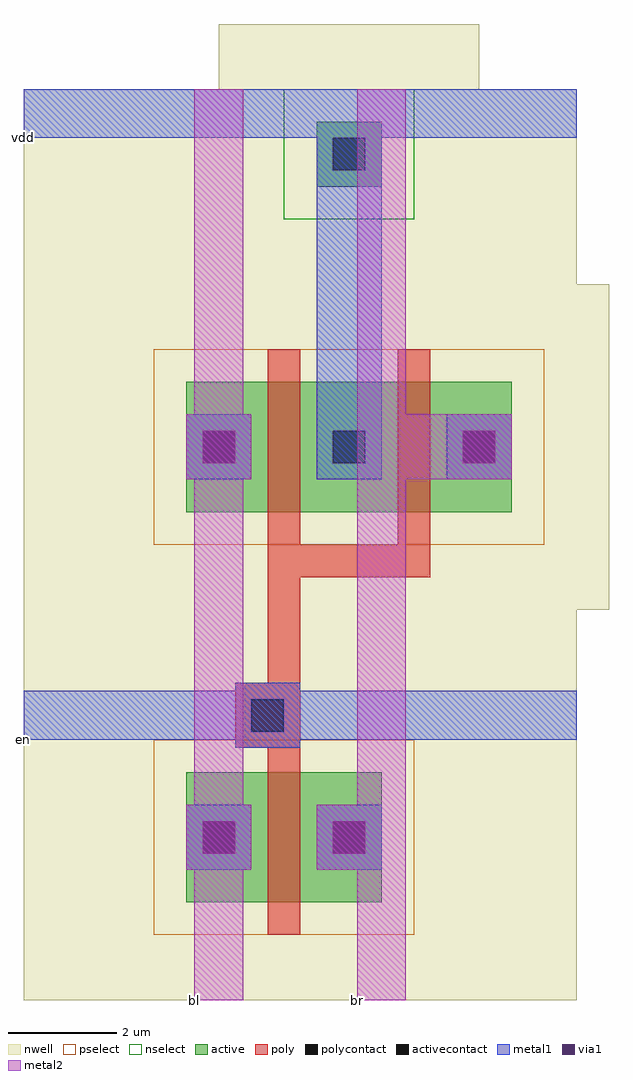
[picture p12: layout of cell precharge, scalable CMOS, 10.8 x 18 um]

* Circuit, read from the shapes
.subckt precharge bl br en vdd
M1 br en bl vdd pfet w=2.4u l=0.6u
M2 vdd en bl vdd pfet w=2.4u l=0.6u
M3 br en vdd vdd pfet w=2.4u l=0.6u
.ends

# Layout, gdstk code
from math import pi, radians
import gdstk
lib = gdstk.Library(unit=1e-6, precision=1e-09)
def R(c, l, rs):  # rectangles x0, y0, x1, y1
    for r in rs: c.add(gdstk.rectangle(r[:2], r[2:], *l))
nwell = (42, 0)
active = (43, 0)
pselect = (44, 0)
nselect = (45, 0)
poly = (46, 0)
polycontact = (47, 0)
activecontact = (48, 0)
metal1 = (49, 0)
via1 = (50, 0)
metal2 = (51, 0)

active_contact_metal1_1x = lib.new_cell('active_contact_metal1_1x1_pn')
R(active_contact_metal1_1x, nwell, [(-1.8,-1.8,3,3), (-1.8,-1.8,3,3)])
R(active_contact_metal1_1x, active, [(0,0,1.2,1.2), (0,0,1.2,1.2)])
R(active_contact_metal1_1x, pselect, [(-0.6,-0.6,1.8,1.8), (-0.6,-0.6,1.8,1.8)])
R(active_contact_metal1_1x, activecontact, [(0.3,0.3,0.9,0.9), (0.3,0.3,0.9,0.9)])
R(active_contact_metal1_1x, metal1, [(0,0,1.2,1.2), (0,0,1.2,1.2)])

pmos_m1_w2_4 = lib.new_cell('pmos_m1_w2_4')
R(pmos_m1_w2_4, nwell, [(-1.8,-1.8,5.4,4.2), (-1.8,-1.8,5.4,4.2)])
R(pmos_m1_w2_4, active, [(0,0,3.6,2.4), (0,0,3.6,2.4)])
R(pmos_m1_w2_4, pselect, [(-0.6,-0.6,4.2,3), (-0.6,-0.6,4.2,3)])
R(pmos_m1_w2_4, poly, [(1.5,-0.6,2.1,3), (1.5,-0.6,2.1,3), (1.5,-0.6,2.1,3), (1.5,-0.6,2.1,3)])
R(pmos_m1_w2_4, metal1, [(0,0.6,1.2,1.8), (0,0.6,1.2,1.8), (2.4,0.6,3.6,1.8), (2.4,0.6,3.6,1.8)])
pmos_m1_w2_4.add(gdstk.Reference(active_contact_metal1_1x, (0,0.6)))
pmos_m1_w2_4.add(gdstk.Reference(active_contact_metal1_1x, (2.4,0.6)))
pmos_m1_w2_4.add(gdstk.Reference(active_contact_metal1_1x, (0,0.6)))
pmos_m1_w2_4.add(gdstk.Reference(active_contact_metal1_1x, (2.4,0.6)))
pmos_m1_w2_4.add(gdstk.Label('S', (0,0.6), layer=49, texttype=0))
pmos_m1_w2_4.add(gdstk.Label('D', (2.4,0.6), layer=49, texttype=0))
pmos_m1_w2_4.add(gdstk.Label('G', (1.5,-0.6), layer=46, texttype=0))
pmos_m1_w2_4.add(gdstk.Label('S', (0,0.6), layer=49, texttype=0))
pmos_m1_w2_4.add(gdstk.Label('D', (2.4,0.6), layer=49, texttype=0))
pmos_m1_w2_4.add(gdstk.Label('G', (1.5,-0.6), layer=46, texttype=0))

poly_contact_metal1_1x1 = lib.new_cell('poly_contact_metal1_1x1')
R(poly_contact_metal1_1x1, poly, [(0,0,1.2,1.2), (0,0,1.2,1.2)])
R(poly_contact_metal1_1x1, polycontact, [(0.3,0.3,0.9,0.9), (0.3,0.3,0.9,0.9)])
R(poly_contact_metal1_1x1, metal1, [(0,0,1.2,1.2), (0,0,1.2,1.2)])

c_active_contact_metal1_1x = lib.new_cell('active_contact_metal1_1x1_nn')
R(c_active_contact_metal1_1x, nwell, [(-1.8,-1.8,3,3), (-1.8,-1.8,3,3)])
R(c_active_contact_metal1_1x, active, [(0,0,1.2,1.2), (0,0,1.2,1.2)])
R(c_active_contact_metal1_1x, nselect, [(-0.6,-0.6,1.8,1.8), (-0.6,-0.6,1.8,1.8)])
R(c_active_contact_metal1_1x, activecontact, [(0.3,0.3,0.9,0.9), (0.3,0.3,0.9,0.9)])
R(c_active_contact_metal1_1x, metal1, [(0,0,1.2,1.2), (0,0,1.2,1.2)])

metal1_via1_metal2_1x1 = lib.new_cell('metal1_via1_metal2_1x1')
R(metal1_via1_metal2_1x1, metal1, [(0,0,1.2,1.2), (0,0,1.2,1.2)])
R(metal1_via1_metal2_1x1, via1, [(0.3,0.3,0.9,0.9), (0.3,0.3,0.9,0.9)])
R(metal1_via1_metal2_1x1, metal2, [(0,0,1.2,1.2), (0,0,1.2,1.2)])

precharge = lib.new_cell('precharge')
R(precharge, nwell, [(0,0,10.2,16.8), (0,0,10.2,16.8)])
R(precharge, poly, [(4.5,1.2,5.1,8.4), (4.5,1.2,5.1,8.4), (4.5,7.8,7.5,8.4), (4.5,7.8,7.5,8.4)])
R(precharge, metal1, [(0,4.8,10.2,5.7), (0,4.8,10.2,5.7), (5.4,9.6,6.6,16.8), (5.4,9.6,6.6,16.8), (0,15.9,10.2,16.8), (0,15.9,10.2,16.8)])
R(precharge, metal2, [(3.15,0,4.05,16.8), (3.15,0,4.05,16.8), (6.15,0,7.05,16.8), (6.15,0,7.05,16.8), (3,2.4,4.2,3.6), (3,2.4,4.2,3.6), (5.4,2.4,7.05,3.6), (5.4,2.4,7.05,3.6), (3,9.6,4.2,10.8), (3,9.6,4.2,10.8), (6.15,9.6,9,10.8), (6.15,9.6,9,10.8)])
precharge.add(gdstk.Reference(pmos_m1_w2_4, (3,1.8)))
precharge.add(gdstk.Reference(pmos_m1_w2_4, (3,9)))
precharge.add(gdstk.Reference(pmos_m1_w2_4, (5.4,9)))
precharge.add(gdstk.Reference(poly_contact_metal1_1x1, (5.1,4.65), rotation=pi/2))
precharge.add(gdstk.Reference(c_active_contact_metal1_1x, (5.4,15)))
precharge.add(gdstk.Reference(metal1_via1_metal2_1x1, (3,2.4)))
precharge.add(gdstk.Reference(metal1_via1_metal2_1x1, (5.4,2.4)))
precharge.add(gdstk.Reference(metal1_via1_metal2_1x1, (3,9.6)))
precharge.add(gdstk.Reference(metal1_via1_metal2_1x1, (7.8,9.6)))
precharge.add(gdstk.Reference(pmos_m1_w2_4, (3,1.8)))
precharge.add(gdstk.Reference(pmos_m1_w2_4, (3,9)))
precharge.add(gdstk.Reference(pmos_m1_w2_4, (5.4,9)))
precharge.add(gdstk.Reference(poly_contact_metal1_1x1, (5.1,4.65), rotation=pi/2))
precharge.add(gdstk.Reference(c_active_contact_metal1_1x, (5.4,15)))
precharge.add(gdstk.Reference(metal1_via1_metal2_1x1, (3,2.4)))
precharge.add(gdstk.Reference(metal1_via1_metal2_1x1, (5.4,2.4)))
precharge.add(gdstk.Reference(metal1_via1_metal2_1x1, (3,9.6)))
precharge.add(gdstk.Reference(metal1_via1_metal2_1x1, (7.8,9.6)))
precharge.add(gdstk.Label('bl', (3.15,0), layer=51, texttype=0))
precharge.add(gdstk.Label('en', (0,4.8), layer=49, texttype=0))
precharge.add(gdstk.Label('vdd', (0,15.9), layer=49, texttype=0))
precharge.add(gdstk.Label('br', (6.15,0), layer=51, texttype=0))
precharge.add(gdstk.Label('bl', (3.15,0), layer=51, texttype=0))
precharge.add(gdstk.Label('en', (0,4.8), layer=49, texttype=0))
precharge.add(gdstk.Label('vdd', (0,15.9), layer=49, texttype=0))
precharge.add(gdstk.Label('br', (6.15,0), layer=51, texttype=0))

lib.write_gds('precharge.gds')
